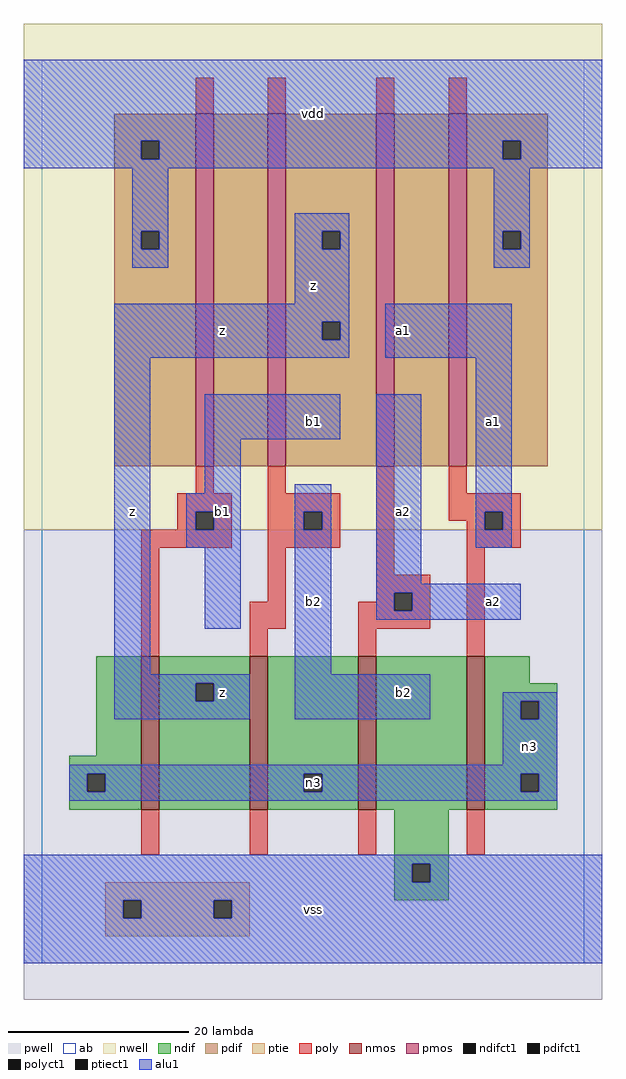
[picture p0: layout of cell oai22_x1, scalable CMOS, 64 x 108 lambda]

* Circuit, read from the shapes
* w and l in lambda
.subckt oai22_x1 a1 a2 b1 b2 n3 vdd vss z
M1 z b1 n3 vss nfet w=17 l=2
M2 n3 b2 z vss nfet w=17 l=2
M3 vss a2 n3 vss nfet w=17 l=2
M4 n3 a1 vss vss nfet w=17 l=2
M5 n1 b1 vdd n2 pfet w=39 l=2
M6 z b2 n1 n2 pfet w=39 l=2
M7 n4 a2 z n2 pfet w=39 l=2
M8 vdd a1 n4 n2 pfet w=39 l=2
.ends

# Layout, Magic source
magic
tech scmos
<< ab >>
rect 0 0 60 100
<< nwell >>
rect -2 48 62 104
<< pwell >>
rect -2 -4 62 48
<< poly >>
rect 17 94 19 98
rect 25 94 27 98
rect 37 94 39 98
rect 45 94 47 98
rect 17 52 19 55
rect 25 52 27 55
rect 15 50 21 52
rect 15 48 17 50
rect 19 48 21 50
rect 11 46 21 48
rect 25 50 33 52
rect 25 48 29 50
rect 31 48 33 50
rect 25 46 33 48
rect 11 34 13 46
rect 25 40 27 46
rect 37 43 39 55
rect 45 52 47 55
rect 45 50 53 52
rect 45 49 49 50
rect 47 48 49 49
rect 51 48 53 50
rect 47 46 53 48
rect 37 41 43 43
rect 37 40 39 41
rect 23 37 27 40
rect 35 39 39 40
rect 41 39 43 41
rect 35 37 43 39
rect 23 34 25 37
rect 35 34 37 37
rect 47 34 49 46
rect 11 12 13 17
rect 23 12 25 17
rect 35 12 37 17
rect 47 12 49 17
<< ndif >>
rect 6 23 11 34
rect 3 21 11 23
rect 3 19 5 21
rect 7 19 11 21
rect 3 17 11 19
rect 13 31 23 34
rect 13 29 17 31
rect 19 29 23 31
rect 13 17 23 29
rect 25 21 35 34
rect 25 19 29 21
rect 31 19 35 21
rect 25 17 35 19
rect 37 17 47 34
rect 49 31 54 34
rect 49 29 57 31
rect 49 27 53 29
rect 55 27 57 29
rect 49 21 57 27
rect 49 19 53 21
rect 55 19 57 21
rect 49 17 57 19
rect 39 11 45 17
rect 39 9 41 11
rect 43 9 45 11
rect 39 7 45 9
<< pdif >>
rect 8 91 17 94
rect 8 89 11 91
rect 13 89 17 91
rect 8 81 17 89
rect 8 79 11 81
rect 13 79 17 81
rect 8 55 17 79
rect 19 55 25 94
rect 27 81 37 94
rect 27 79 31 81
rect 33 79 37 81
rect 27 71 37 79
rect 27 69 31 71
rect 33 69 37 71
rect 27 55 37 69
rect 39 55 45 94
rect 47 91 56 94
rect 47 89 51 91
rect 53 89 56 91
rect 47 81 56 89
rect 47 79 51 81
rect 53 79 56 81
rect 47 55 56 79
<< alu1 >>
rect -2 91 62 100
rect -2 89 11 91
rect 13 89 51 91
rect 53 89 62 91
rect -2 88 62 89
rect 10 81 14 88
rect 10 79 11 81
rect 13 79 14 81
rect 10 77 14 79
rect 28 81 34 83
rect 28 79 31 81
rect 33 79 34 81
rect 28 73 34 79
rect 50 81 54 88
rect 50 79 51 81
rect 53 79 54 81
rect 50 77 54 79
rect 8 71 34 73
rect 8 69 31 71
rect 33 69 34 71
rect 8 67 34 69
rect 38 67 52 73
rect 8 32 12 67
rect 18 58 33 63
rect 18 52 22 58
rect 16 50 22 52
rect 16 48 17 50
rect 19 48 22 50
rect 16 46 22 48
rect 18 37 22 46
rect 28 50 32 53
rect 28 48 29 50
rect 31 48 32 50
rect 28 32 32 48
rect 37 42 42 63
rect 48 50 52 67
rect 48 48 49 50
rect 51 48 52 50
rect 48 46 52 48
rect 37 41 53 42
rect 37 39 39 41
rect 41 39 53 41
rect 37 38 53 39
rect 8 31 23 32
rect 8 29 17 31
rect 19 29 23 31
rect 8 27 23 29
rect 28 27 43 32
rect 51 29 57 30
rect 51 27 53 29
rect 55 27 57 29
rect 51 22 57 27
rect 3 21 57 22
rect 3 19 5 21
rect 7 19 29 21
rect 31 19 53 21
rect 55 19 57 21
rect 3 18 57 19
rect -2 11 62 12
rect -2 9 41 11
rect 43 9 62 11
rect -2 7 62 9
rect -2 5 9 7
rect 11 5 19 7
rect 21 5 62 7
rect -2 0 62 5
<< ptie >>
rect 7 7 23 9
rect 7 5 9 7
rect 11 5 19 7
rect 21 5 23 7
rect 7 3 23 5
<< nmos >>
rect 11 17 13 34
rect 23 17 25 34
rect 35 17 37 34
rect 47 17 49 34
<< pmos >>
rect 17 55 19 94
rect 25 55 27 94
rect 37 55 39 94
rect 45 55 47 94
<< polyct1 >>
rect 17 48 19 50
rect 29 48 31 50
rect 49 48 51 50
rect 39 39 41 41
<< ndifct1 >>
rect 5 19 7 21
rect 17 29 19 31
rect 29 19 31 21
rect 53 27 55 29
rect 53 19 55 21
rect 41 9 43 11
<< ptiect1 >>
rect 9 5 11 7
rect 19 5 21 7
<< pdifct1 >>
rect 11 89 13 91
rect 11 79 13 81
rect 31 79 33 81
rect 31 69 33 71
rect 51 89 53 91
rect 51 79 53 81
<< labels >>
rlabel alu1 20 30 20 30 6 z
rlabel alu1 10 50 10 50 6 z
rlabel alu1 20 50 20 50 6 b1
rlabel alu1 20 70 20 70 6 z
rlabel alu1 30 6 30 6 6 vss
rlabel alu1 30 40 30 40 6 b2
rlabel alu1 30 60 30 60 6 b1
rlabel alu1 30 75 30 75 6 z
rlabel alu1 30 94 30 94 6 vdd
rlabel alu1 40 30 40 30 6 b2
rlabel alu1 40 50 40 50 6 a2
rlabel alu1 40 70 40 70 6 a1
rlabel alu1 54 24 54 24 6 n3
rlabel ndifct1 30 20 30 20 6 n3
rlabel alu1 50 40 50 40 6 a2
rlabel alu1 50 60 50 60 6 a1
<< end >>
